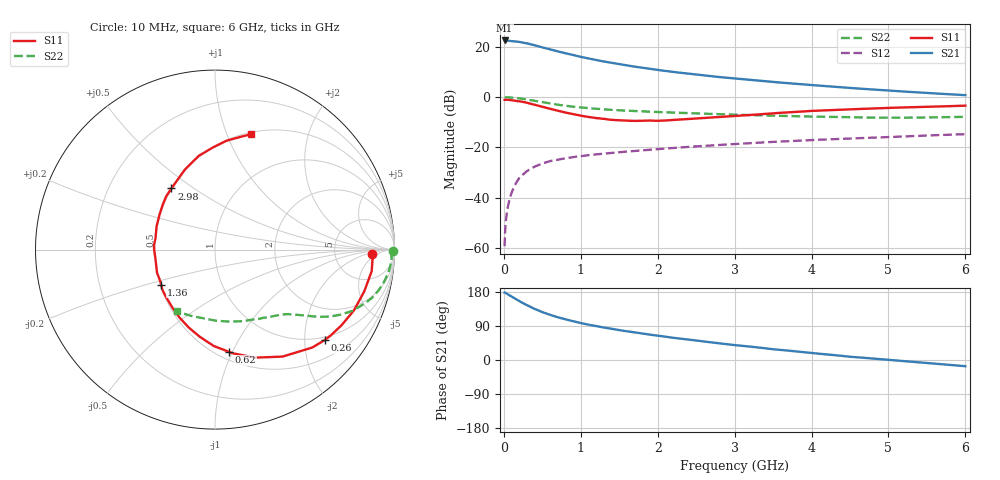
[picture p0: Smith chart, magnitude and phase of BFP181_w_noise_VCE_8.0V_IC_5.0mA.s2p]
! Infineon Technologies  Discrete & RF Semiconductors
! BFP181
! VCE = 8.0 V,  IC =  5.0 mA
! Common Emitter S-Parameters:  Jan 2016
# GHz  S  MA  R  50
!  f  S11  S21  S12  S22
! GHz  MAG  ANG  MAG  ANG  MAG  ANG  MAG  ANG
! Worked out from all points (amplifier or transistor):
!   210 points, 10 MHz to 6 GHz, reference 50 ohm
!   highest |S21| = 22.4 dB at 10 MHz (marker M1)
!   |S21| within 3 dB of that: start of sweep to 534.6 MHz
!   unconditionally stable (mu >= 1): 1.857 GHz to end of sweep
!   at 185 MHz: K = 0.17, MSG = 27.4 dB, |S12| = -32.8 dB
!   at 1.52 GHz: K = 0.91, MSG = 17.4 dB, |S12| = -21.9 dB
!   at 6 GHz: K = 1.06, MAG = 6.2 dB, |S12| = -14.8 dB
!   lowest NFmin = 1.55 dB at 450 MHz
!   S11 on the Smith chart (normalised r, x): 10 MHz: 15, -3; 260 MHz: 0.92, -2.49; 620 MHz: 0.57, -0.97; 1.36 GHz: 0.50, -0.23; 2.98 GHz: 0.50, +0.41; 6 GHz: 0.52, +1.22
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0.01  0.8774 -1.7  13.22 178.0  0.0011 91.9  0.9895 -0.6
0.03  0.8794 -4.8  13.18 176.2  0.0039 81.0  0.9838 -2.1
0.08  0.8688 -12.4  12.93 169.9  0.0101 80.8  0.9796 -5.8
0.155  0.8421 -24.3  12.66 160.6  0.0191 76.0  0.9591 -10.8
0.2  0.8213 -30.9  12.39 155.4  0.0246 72.7  0.9413 -13.7
0.26  0.7925 -39.5  11.87 148.8  0.03 68.7  0.9125 -17.3
0.3  0.7695 -45.1  11.59 144.8  0.0339 65.8  0.8922 -19.3
0.4  0.7047 -57.8  10.64 134.8  0.0416 60.2  0.8391 -24.0
0.5  0.6416 -69.7  9.647 126.4  0.0479 55.4  0.7897 -27.3
0.62  0.5744 -82.3  8.693 118.0  0.0543 51.3  0.7355 -30.5
0.7  0.5368 -90.8  8.023 112.8  0.0572 48.9  0.7033 -32.2
0.8  0.4916 -100.2  7.41 107.1  0.0608 46.8  0.6705 -33.8
1.02  0.4211 -119.3  6.169 96.8  0.0676 43.4  0.6158 -36.6
1.2  0.3822 -134.9  5.417 89.4  0.0727 41.6  0.5835 -38.6
1.36  0.358 -147.0  4.879 83.7  0.0767 40.5  0.5608 -40.1
1.68  0.3357 -170.2  4.043 73.3  0.0845 39.1  0.527 -43.3
2.02  0.338 168.1  3.406 63.6  0.0931 37.4  0.5024 -47.0
2.98  0.4184 125.5  2.345 39.8  0.1161 32.9  0.4471 -60.2
3.1  0.4294 121.7  2.255 37.4  0.119 32.2  0.4415 -62.1
4.1  0.5366 98.0  1.681 16.5  0.142 25.9  0.4058 -80.5
5.1  0.615 82.8  1.312 -1.4  0.1626 19.9  0.3882 -101.6
6  0.6731 72.7  1.088 -16.4  0.183 13.9  0.4039 -121.4
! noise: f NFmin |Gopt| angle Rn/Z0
0.45  1.55  0.48  17  0.36
0.9  1.65  0.4  35  0.34
1.8  2  0.18  88  0.34
